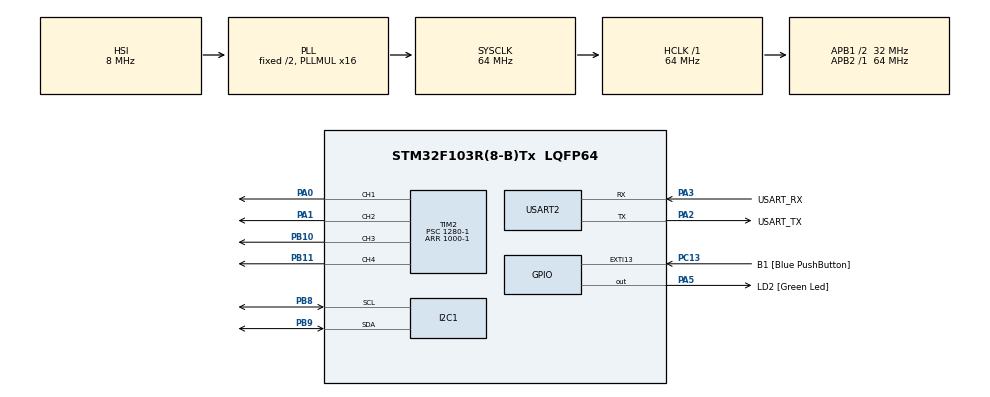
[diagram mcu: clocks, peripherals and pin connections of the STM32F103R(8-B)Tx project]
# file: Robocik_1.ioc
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Dma.Request0=USART2_RX
Dma.USART2_RX.0.Direction=DMA_PERIPH_TO_MEMORY
Dma.USART2_RX.0.Instance=DMA1_Channel6
Dma.USART2_RX.0.MemDataAlignment=DMA_MDATAALIGN_BYTE
Dma.USART2_RX.0.MemInc=DMA_MINC_ENABLE
Dma.USART2_RX.0.Mode=DMA_CIRCULAR
Dma.USART2_RX.0.PeriphDataAlignment=DMA_PDATAALIGN_BYTE
Dma.USART2_RX.0.PeriphInc=DMA_PINC_DISABLE
Dma.USART2_RX.0.Priority=DMA_PRIORITY_LOW
Mcu.Family=STM32F1
Mcu.Name=STM32F103R(8-B)Tx
Mcu.Package=LQFP64
NVIC.DMA1_Channel6_IRQn=true\:0\:0\:false\:false\:true\:false\:true
NVIC.EXTI15_10_IRQn=true\:0\:0\:false\:false\:true\:true\:true
NVIC.PriorityGroup=NVIC_PRIORITYGROUP_4
NVIC.USART2_IRQn=true\:0\:0\:false\:true\:true\:1\:true\:true
PA0-WKUP.Signal=S_TIM2_CH1_ETR
PA1.Signal=S_TIM2_CH2
PA13.GPIO_Label=TMS
PA13.Mode=Serial_Wire
PA13.Signal=SYS_JTMS-SWDIO
PA14.GPIO_Label=TCK
PA14.Mode=Serial_Wire
PA14.Signal=SYS_JTCK-SWCLK
PA2.GPIO_Label=USART_TX
PA2.GPIO_Mode=GPIO_MODE_AF_PP
PA2.GPIO_PuPd=GPIO_NOPULL
PA2.GPIO_Speed=GPIO_SPEED_FREQ_LOW
PA2.Mode=Asynchronous
PA2.Signal=USART2_TX
PA3.GPIO_Label=USART_RX
PA3.GPIO_Mode=GPIO_MODE_AF_PP
PA3.GPIO_PuPd=GPIO_NOPULL
PA3.GPIO_Speed=GPIO_SPEED_FREQ_LOW
PA3.Mode=Asynchronous
PA3.Signal=USART2_RX
PA5.GPIO_Label=LD2 [Green Led]
PA5.GPIO_ModeDefaultOutputPP=GPIO_MODE_OUTPUT_PP
PA5.GPIO_PuPd=GPIO_NOPULL
PA5.GPIO_Speed=GPIO_SPEED_FREQ_LOW
PA5.Signal=GPIO_Output
PB10.Signal=S_TIM2_CH3
PB11.Signal=S_TIM2_CH4
PB3.GPIO_Label=SWO
PB3.Signal=SYS_JTDO-TRACESWO
PB8.Mode=I2C
PB8.Signal=I2C1_SCL
PB9.Mode=I2C
PB9.Signal=I2C1_SDA
PC13-TAMPER-RTC.GPIO_Label=B1 [Blue PushButton]
PC13-TAMPER-RTC.GPIO_PuPd=GPIO_NOPULL
PC13-TAMPER-RTC.Signal=GPXTI13
PC14-OSC32_IN.Mode=LSE-External-Oscillator
PC14-OSC32_IN.Signal=RCC_OSC32_IN
PC15-OSC32_OUT.Mode=LSE-External-Oscillator
PC15-OSC32_OUT.Signal=RCC_OSC32_OUT
PD0-OSC_IN.Mode=HSE-External-Clock-Source
PD0-OSC_IN.Signal=RCC_OSC_IN
PD1-OSC_OUT.Mode=HSE-External-Clock-Source
PD1-OSC_OUT.Signal=RCC_OSC_OUT
ProjectManager.HeapSize=0x200
ProjectManager.StackSize=0x400
ProjectManager.TargetToolchain=STM32CubeIDE
RCC.AHBFreq_Value=64000000
RCC.APB1CLKDivider=RCC_HCLK_DIV2
RCC.APB1Freq_Value=32000000
RCC.APB1TimFreq_Value=64000000
RCC.APB2Freq_Value=64000000
RCC.APB2TimFreq_Value=64000000
RCC.HCLKFreq_Value=64000000
RCC.PLLMUL=RCC_PLL_MUL16
RCC.RTCClockSelection=RCC_RTCCLKSOURCE_LSE
RCC.SYSCLKFreq_VALUE=64000000
RCC.SYSCLKSource=RCC_SYSCLKSOURCE_PLLCLK
RCC.USBFreq_Value=64000000
SH.S_TIM2_CH1_ETR.0=TIM2_CH1,PWM Generation1 CH1
SH.S_TIM2_CH2.0=TIM2_CH2,PWM Generation2 CH2
SH.S_TIM2_CH3.0=TIM2_CH3,PWM Generation3 CH3
SH.S_TIM2_CH4.0=TIM2_CH4,PWM Generation4 CH4
TIM2.Channel-PWM\ Generation1\ CH1=TIM_CHANNEL_1
TIM2.Channel-PWM\ Generation2\ CH2=TIM_CHANNEL_2
TIM2.Channel-PWM\ Generation3\ CH3=TIM_CHANNEL_3
TIM2.Channel-PWM\ Generation4\ CH4=TIM_CHANNEL_4
TIM2.Period=1000-1
TIM2.Prescaler=1280-1
USART2.VirtualMode=VM_ASYNC
VP_TIM2_VS_ClockSourceINT.Mode=Internal
board=NUCLEO-F103RB

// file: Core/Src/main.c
/* USER CODE BEGIN Header */
/**
  ******************************************************************************
  * @file           : main.c
  * @brief          : Main program body
  ******************************************************************************
  * @attention
  *
  * <h2><center>&copy; Copyright (c) 2020 STMicroelectronics.
  * All rights reserved.</center></h2>
  *
  * This software component is licensed by ST under BSD 3-Clause license,
  * the "License"; You may not use this file except in compliance with the
  * License. You may obtain a copy of the License at:
  *                        opensource.org/licenses/BSD-3-Clause
  *
  ******************************************************************************
  */
/* USER CODE END Header */
#include "main.h"
#include "dma.h"
#include "i2c.h"
#include "tim.h"
#include "usart.h"
#include "gpio.h"

/* USER CODE BEGIN PD */

#define RX_Size 5 //with extra one for "\n" , can be easly change

#define EEPROM_size 128 //in bytes

#define uart_handler &huart2

#define PWM_channels 4

#define PWM_handler &htim2

#define I2C_handler &hi2c1

/* USER CODE END PD */

void SystemClock_Config(void);
static void MX_NVIC_Init(void);
/* USER CODE BEGIN PFP */
long map(uint8_t x, uint8_t in_min, uint8_t in_max, uint8_t out_min, uint8_t out_max);//function for mapping

void saveLogs(I2C_HandleTypeDef *hi2c );

/* USER CODE END PFP */

/* USER CODE BEGIN 0 */
	uint8_t rx_buffer[RX_Size];

	uint8_t PWM_buffer [PWM_channels];

	char TIM_CHANNELS[ 4]={ TIM_CHANNEL_1, TIM_CHANNEL_2,TIM_CHANNEL_3,TIM_CHANNEL_4};

/* USER CODE END 0 */

int main(void)
{

  /* MCU Configuration--------------------------------------------------------*/

  /* Reset of all peripherals, Initializes the Flash interface and the Systick. */
  HAL_Init();

  /* Configure the system clock */
  SystemClock_Config();

  /* Initialize all configured peripherals */
  MX_GPIO_Init();
  MX_DMA_Init();
  MX_I2C1_Init();
  MX_USART2_UART_Init();
  MX_TIM2_Init();

  /* Initialize interrupts */
  MX_NVIC_Init();
  /* USER CODE BEGIN 2 */

  HAL_UART_Receive_DMA(uart_handler, (uint8_t *)rx_buffer, RX_Size);

  HAL_TIM_PWM_Start(PWM_handler, TIM_CHANNELS[0]);

  //uint8_t test[] = 0x5a;//90

  uint8_t test[2] = {4,5};

  //0b10100000
 HAL_I2C_Mem_Write(I2C_handler, 0xa0, 0x10, 1, (uint8_t*)&test, sizeof(test), HAL_MAX_DELAY);

  HAL_Delay(100);

 uint8_t result [2];

 HAL_I2C_Mem_Read(I2C_handler, 0xa0, 0x10, 1, (uint8_t*)&result, sizeof(result), HAL_MAX_DELAY);
 HAL_Delay(100);

 HAL_I2C_Mem_Read(I2C_handler, 0xa0, 0x00, 1, (uint8_t*)&result, sizeof(result), HAL_MAX_DELAY);
 HAL_Delay(100);
  /* USER CODE END 2 */

  /* Infinite loop */
  /* USER CODE BEGIN WHILE */
  while (1)
  {

	  //PWM generation
	for(uint8_t i = 0 ; i < PWM_channels ; i++){
		__HAL_TIM_SET_COMPARE(PWM_handler,TIM_CHANNELS[i],map(rx_buffer[i], 0, 255, 15, 130));
	}

    /* USER CODE END WHILE */

  }
}

void SystemClock_Config(void)
{
  RCC_OscInitTypeDef RCC_OscInitStruct = {0};
  RCC_ClkInitTypeDef RCC_ClkInitStruct = {0};

  /** Initializes the RCC Oscillators according to the specified parameters
  * in the RCC_OscInitTypeDef structure.
  */
  RCC_OscInitStruct.OscillatorType = RCC_OSCILLATORTYPE_HSI;
  RCC_OscInitStruct.HSIState = RCC_HSI_ON;
  RCC_OscInitStruct.HSICalibrationValue = RCC_HSICALIBRATION_DEFAULT;
  RCC_OscInitStruct.PLL.PLLState = RCC_PLL_ON;
  RCC_OscInitStruct.PLL.PLLSource = RCC_PLLSOURCE_HSI_DIV2;
  RCC_OscInitStruct.PLL.PLLMUL = RCC_PLL_MUL16;
  if (HAL_RCC_OscConfig(&RCC_OscInitStruct) != HAL_OK)
  {
    Error_Handler();
  }
  /** Initializes the CPU, AHB and APB buses clocks
  */
  RCC_ClkInitStruct.ClockType = RCC_CLOCKTYPE_HCLK|RCC_CLOCKTYPE_SYSCLK
                              |RCC_CLOCKTYPE_PCLK1|RCC_CLOCKTYPE_PCLK2;
  RCC_ClkInitStruct.SYSCLKSource = RCC_SYSCLKSOURCE_PLLCLK;
  RCC_ClkInitStruct.AHBCLKDivider = RCC_SYSCLK_DIV1;
  RCC_ClkInitStruct.APB1CLKDivider = RCC_HCLK_DIV2;
  RCC_ClkInitStruct.APB2CLKDivider = RCC_HCLK_DIV1;

  if (HAL_RCC_ClockConfig(&RCC_ClkInitStruct, FLASH_LATENCY_2) != HAL_OK)
  {
    Error_Handler();
  }
}

/**
  * @brief NVIC Configuration.
  * @retval None
  */
static void MX_NVIC_Init(void)
{
  /* USART2_IRQn interrupt configuration */
  HAL_NVIC_SetPriority(USART2_IRQn, 0, 0);
  HAL_NVIC_EnableIRQ(USART2_IRQn);
}

/* USER CODE BEGIN 4 */
void HAL_UART_RxCpltCallback(UART_HandleTypeDef *huart){

		if(huart == uart_handler){

			/*
			i++;

			HAL_UART_Receive_IT(&huart2, rx_buffer[i%4], 1);
			*/

			//saving logs:
			saveLogs(I2C_handler);

			HAL_GPIO_TogglePin(GPIOA, GPIO_PIN_5);//for signaling the comunication
		}

}

void saveLogs(I2C_HandleTypeDef *hi2c ){//to nie działa do kónca ale prawie powinno

	uint16_t lastLog = 0;

	HAL_I2C_Mem_Read(&hi2c, 0xa0, 0x00, 1, &lastLog, sizeof(lastLog), HAL_MAX_DELAY);

	HAL_I2C_Mem_Write(I2C_handler, 0xa0, lastLog, 1, (uint8_t*)&rx_buffer, sizeof(rx_buffer), HAL_MAX_DELAY);

	lastLog += 2;

	if (lastLog == 30){
		lastLog = 0;
	}

	HAL_I2C_Mem_Write(I2C_handler, 0xa0, 0x00 , 1, &lastLog, sizeof(lastLog), HAL_MAX_DELAY);

}

long map(uint8_t x, uint8_t in_min, uint8_t in_max, uint8_t out_min, uint8_t out_max)//function for mapping
{
  return (x - in_min) * (out_max - out_min) / (in_max - in_min) + out_min;
}
/* USER CODE END 4 */

void Error_Handler(void)
{
}

/************************ (C) COPYRIGHT STMicroelectronics *****END OF FILE****/
